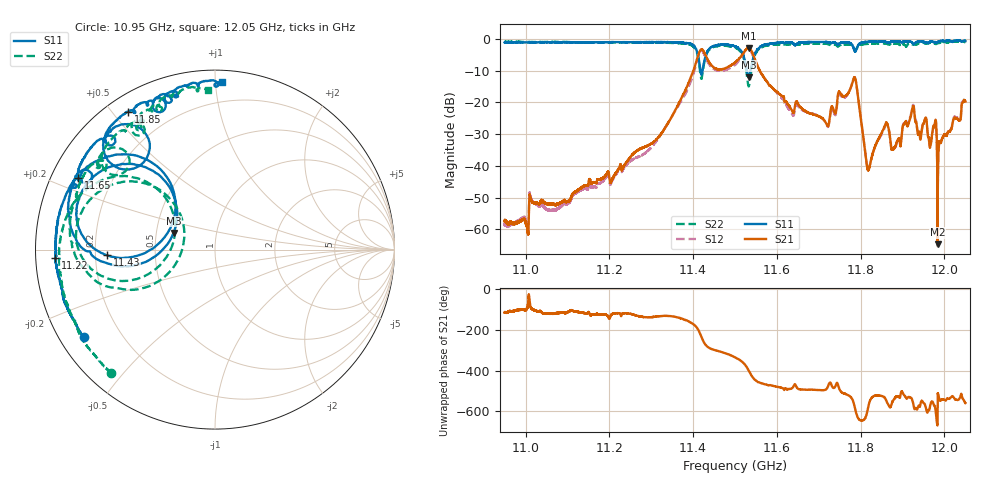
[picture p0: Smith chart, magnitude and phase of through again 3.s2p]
!Agilent Technologies,E8362C,MY49020356,A.09.42.23
!Agilent E8362C: A.09.42.23
!Date: Saturday, September 11, 2021 04:23:24
!Correction: S11(Full 2 Port(1,2))
!S21(Full 2 Port(1,2))
!S12(Full 2 Port(1,2))
!S22(Full 2 Port(1,2))
!S2P File: Measurements: S11, S21, S12, S22:
# Hz S  MA  R 50
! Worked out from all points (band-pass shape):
!   32001 points, 10.95 GHz to 12.05 GHz, reference 50 ohm
!   highest |S21| = -2.82 dB at 11.53 GHz (marker M1); lowest = -64.7 dB at 11.98 GHz (marker M2)
!   |S21| within 3 dB of the highest: 11.41057 GHz to 11.43216 GHz (21.59 MHz wide, 0.189 % of centre); 11.5124 GHz to 11.54578 GHz (33.38 MHz wide, 0.289 % of centre)
!   lowest |S11| = -12.1 dB at 11.53 GHz (marker M3), VSWR 1.66, Z = 30.8 + j6.04 ohm
!   |S11| at or under -10 dB: 11.41751 GHz to 11.42256 GHz (5.056 MHz wide, 0.0443 % of centre); 11.52853 GHz to 11.53707 GHz (8.541 MHz wide, 0.0741 % of centre)
!   |S22| runs from -15.0 to -0.8 dB; largest |S21 - S12| = 0.046
!   S11 on the Smith chart (normalised r, x): 10.95 GHz: 0.07, -0.30; 11.22 GHz: 0.06, -0.02; 11.43 GHz: 0.25, -0.02; 11.65 GHz: 0.08, +0.25; 11.85 GHz: 0.06, +0.55; 12.05 GHz: 0.08, +1.04
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1.095e10  0.8788 -146.5  0.001348 -115.6  0.001188 -113.2  0.8993 -130.2
1.113336e10  0.8808 -166.6  0.004603 -114.8  0.004213 -119.2  0.8825 -150.8
1.122177e10  0.8905 -177.2  0.008913 -117.8  0.0085 -121.1  0.8783 -162.4
1.131668e10  0.8897 169.6  0.02803 -133.6  0.02709 -127.0  0.8708 -177.0
1.138773e10  0.8582 149.9  0.1931 -156.5  0.1665 -157.1  0.8292 161.6
1.141341e10  0.4845 123.6  0.5837 155.5  0.5645 158.7  0.4493 133.3
1.143256e10  0.6008 -177.0  0.5039 80.2  0.4627 81.0  0.5856 -163.1
1.15e10  0.7648 144.4  0.4246 25.2  0.3884 27.3  0.7303 154.9
1.153242e10  0.2489 155.7  0.7224 -38.9  0.7064 -38.8  0.179 166.5
1.153272e10  0.248 158.2  0.7194 -40.2  0.7059 -40.0  0.1782 169.9
1.155627e10  0.7009 -179.1  0.3434 -97.7  0.3354 -95.1  0.6894 -165.6
1.165104e10  0.8603 152.2  0.09382 -130.7  0.08712 -126.1  0.8074 159.8
1.168336e10  0.892 144.6  0.06599 -134.0  0.06664 -131.6  0.8389 153.4
1.172096e10  0.8896 136.4  0.04268 -123.1  0.04149 -124.3  0.8303 145.0
1.178456e10  0.6714 123.0  0.2451 151.1  0.2475 153.1  0.693 133.4
1.181725e10  0.8989 130.2  0.008658 132.3  0.008819 132.1  0.8358 136.9
1.185207e10  0.9083 122.1  0.03519 -166.3  0.0333 -166.7  0.8465 129.6
1.186668e10  0.8835 120.4  0.03922 149.3  0.03719 152.0  0.8283 127.1
1.187888e10  0.9101 118.8  0.01882 176.7  0.01843 -179.6  0.8427 125.4
1.192402e10  0.8633 108.6  0.08374 169.6  0.08759 169.6  0.8295 120.3
1.198369e10  0.8935 105.2  0.0005841 136.0  0.0005455 146.3  0.865 111.8
1.205e10  0.9293 87.6  0.1032 159.0  0.107 156.9  0.8827 92.2
